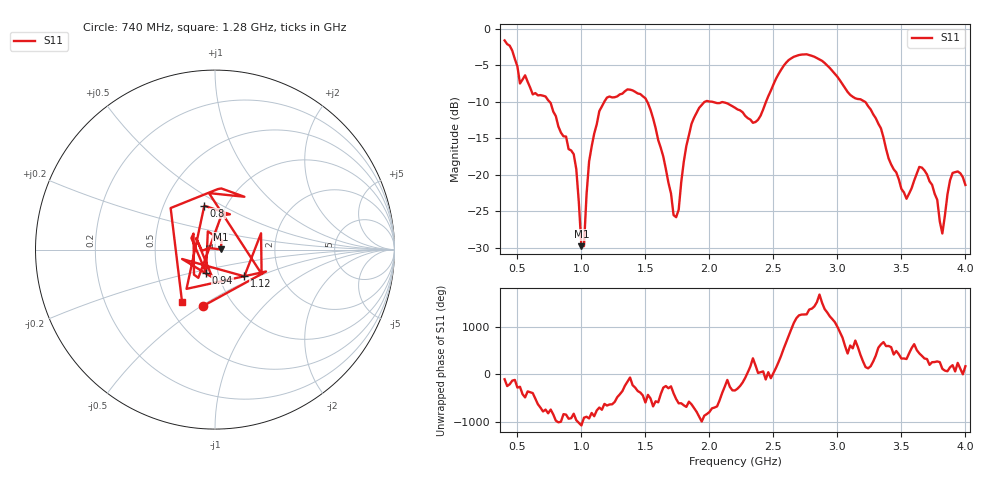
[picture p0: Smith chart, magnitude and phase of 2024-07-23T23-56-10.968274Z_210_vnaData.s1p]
!Created with skrf (http://scikit-rf.org).
# Hz S RI R 50.0
!freq ReS11 ImS11
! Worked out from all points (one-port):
!   181 points, 400 MHz to 4 GHz, reference 50 ohm
!   lowest |S11| = -29.8 dB at 1 GHz (marker M1), VSWR 1.07, Z = 53.3 + j0.0758 ohm
!   |S11| at or under -10 dB: 1.513 GHz to 1.969 GHz (455.6 MHz wide, 26.2 % of centre); 2.005 GHz to 2.443 GHz (438.3 MHz wide, 19.7 % of centre); 3.212 GHz to end of sweep (the widest 3 of 4)
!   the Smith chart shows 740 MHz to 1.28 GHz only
!   S11 on the Smith chart (normalised r, x): 740 MHz: 0.72, -0.51; 800 MHz: 0.79, +0.41; 940 MHz: 0.88, -0.23; 1.12 GHz: 1.32, -0.41; 1.28 GHz: 0.59, -0.39
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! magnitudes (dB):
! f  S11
! 400 MHz  -1.6
! 520 MHz  -7.5
! 740 MHz  -9.8
! 800 MHz  -12.0
! 860 MHz  -14.8
! 940 MHz  -17.2
! 1 GHz  -29.8
! 1.02 GHz  -29.8
! 1.06 GHz  -18.2
! 1.12 GHz  -13.1
! 1.28 GHz  -9.3
! 1.3 GHz  -9.0
! 1.52 GHz  -10.2
! 1.72 GHz  -25.6
! 1.76 GHz  -24.8
! 1.82 GHz  -16.1
! 1.92 GHz  -10.9
! 2.2 GHz  -10.8
! 2.36 GHz  -12.8
! 2.66 GHz  -3.9
! 3.1 GHz  -9.1
! 3.26 GHz  -11.1
! 3.56 GHz  -22.6
! 3.68 GHz  -19.4
! 3.78 GHz  -23.5
! 3.82 GHz  -28.1
! 3.9 GHz  -19.8
! 4 GHz  -21.4
